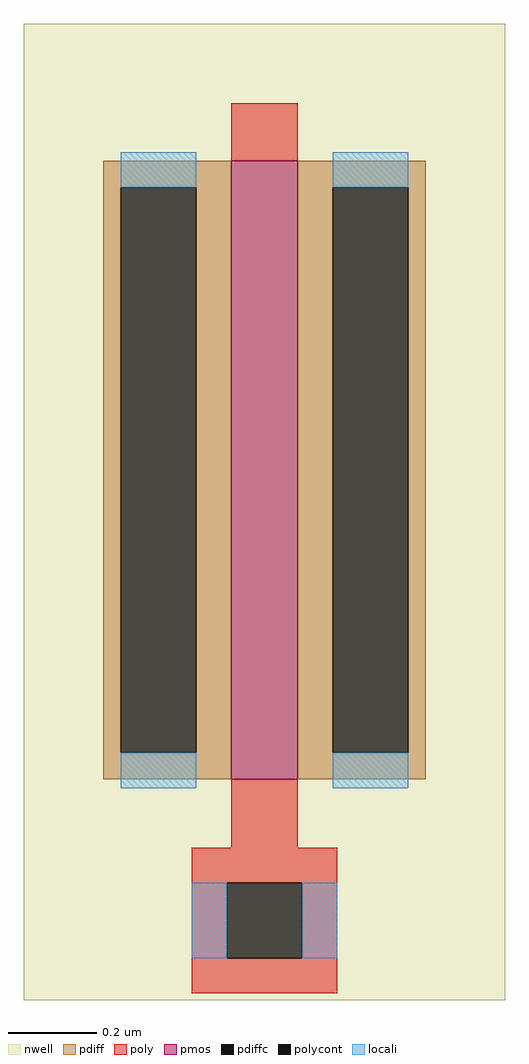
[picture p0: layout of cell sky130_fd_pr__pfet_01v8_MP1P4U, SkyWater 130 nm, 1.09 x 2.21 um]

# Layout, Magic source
magic
tech sky130A
magscale 1 2
<< nwell >>
rect -109 -244 109 198
<< pmos >>
rect -15 -144 15 136
<< pdiff >>
rect -73 124 -15 136
rect -73 -132 -65 124
rect -31 -132 -15 124
rect -73 -144 -15 -132
rect 15 124 73 136
rect 15 -132 31 124
rect 65 -132 73 124
rect 15 -144 73 -132
<< pdiffc >>
rect -65 -132 -31 124
rect 31 -132 65 124
<< poly >>
rect -15 136 15 162
rect -15 -175 15 -144
rect -33 -191 33 -175
rect -33 -225 -17 -191
rect 17 -225 33 -191
rect -33 -241 33 -225
<< polycont >>
rect -17 -225 17 -191
<< locali >>
rect -65 124 -31 140
rect -65 -148 -31 -132
rect 31 124 65 140
rect 31 -148 65 -132
rect -33 -225 -17 -191
rect 17 -225 33 -191
<< properties >>
string gencell sky130_fd_pr__pfet_01v8
string library sky130
string parameters w 1 l 0.15 m 1 nf 1 diffcov 100 polycov 100 guard 0 glc 0 grc 0 gtc 0 gbc 0 tbcov 100 rlcov 100 topc 0 botc 1 poverlap 0 doverlap 1 lmin 0.15 wmin 0.42 compatible {sky130_fd_pr__pfet_01v8  sky130_fd_pr__pfet_01v8_lvt sky130_fd_pr__pfet_01v8_hvt  sky130_fd_pr__pfet_g5v0d10v5} full_metal 0 viasrc 40 viadrn -40 viagate 100 viagb 0 viagr 0 viagl 0 viagt 80
<< end >>
